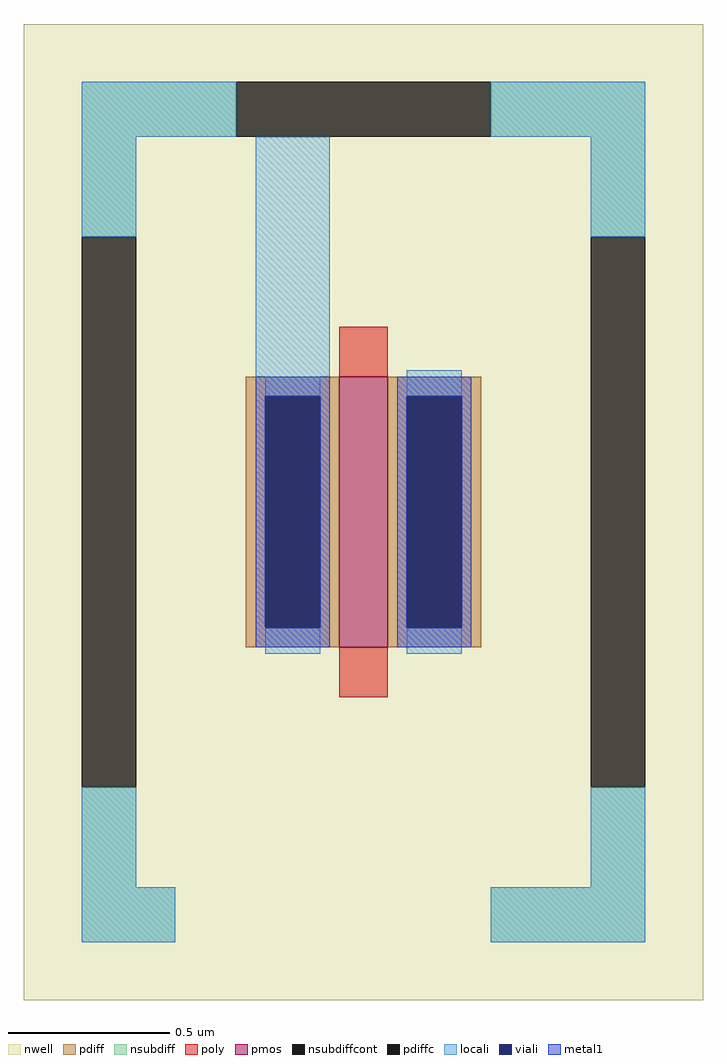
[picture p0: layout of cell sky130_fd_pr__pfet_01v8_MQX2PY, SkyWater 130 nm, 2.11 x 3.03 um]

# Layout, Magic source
magic
tech sky130A
magscale 1 2
<< nwell >>
rect -211 -303 211 303
<< pmos >>
rect -15 -84 15 84
<< pdiff >>
rect -73 72 -15 84
rect -73 -72 -61 72
rect -27 -72 -15 72
rect -73 -84 -15 -72
rect 15 72 73 84
rect 15 -72 27 72
rect 61 -72 73 72
rect 15 -84 73 -72
<< pdiffc >>
rect -61 -72 -27 72
rect 27 -72 61 72
<< nsubdiff >>
rect -175 233 -79 267
rect 79 233 175 267
rect -175 171 -141 233
rect 141 171 175 233
rect -175 -233 -141 -171
rect 141 -233 175 -171
rect -175 -267 -117 -233
rect 79 -267 175 -233
<< nsubdiffcont >>
rect -79 233 79 267
rect -175 -171 -141 171
rect 141 -171 175 171
<< poly >>
rect -15 84 15 115
rect -15 -115 15 -84
<< locali >>
rect -175 233 -79 267
rect 79 233 175 267
rect -175 171 -141 233
rect -67 84 -21 233
rect 141 171 175 233
rect -61 72 -27 84
rect -61 -88 -27 -72
rect 27 72 61 88
rect 27 -88 61 -72
rect -175 -233 -141 -171
rect 141 -233 175 -171
rect -175 -267 -117 -233
rect 79 -267 175 -233
<< viali >>
rect -61 -72 -27 72
rect 27 -72 61 72
<< metal1 >>
rect -67 72 -21 84
rect -67 -72 -61 72
rect -27 -72 -21 72
rect -67 -84 -21 -72
rect 21 72 67 84
rect 21 -72 27 72
rect 61 -72 67 72
rect 21 -84 67 -72
<< properties >>
string FIXED_BBOX -158 -250 158 250
string gencell sky130_fd_pr__pfet_01v8
string library sky130
string parameters w 0.84 l 0.15 m 1 nf 1 diffcov 100 polycov 100 guard 1 glc 1 grc 1 gtc 1 gbc 1 tbcov 100 rlcov 100 topc 1 botc 1 poverlap 0 doverlap 1 lmin 0.15 wmin 0.42 compatible {sky130_fd_pr__pfet_01v8  sky130_fd_pr__pfet_01v8_lvt sky130_fd_pr__pfet_01v8_hvt  sky130_fd_pr__pfet_g5v0d10v5} full_metal 1 viasrc 100 viadrn 100 viagate 100 viagb 0 viagr 0 viagl 0 viagt 0
<< end >>
